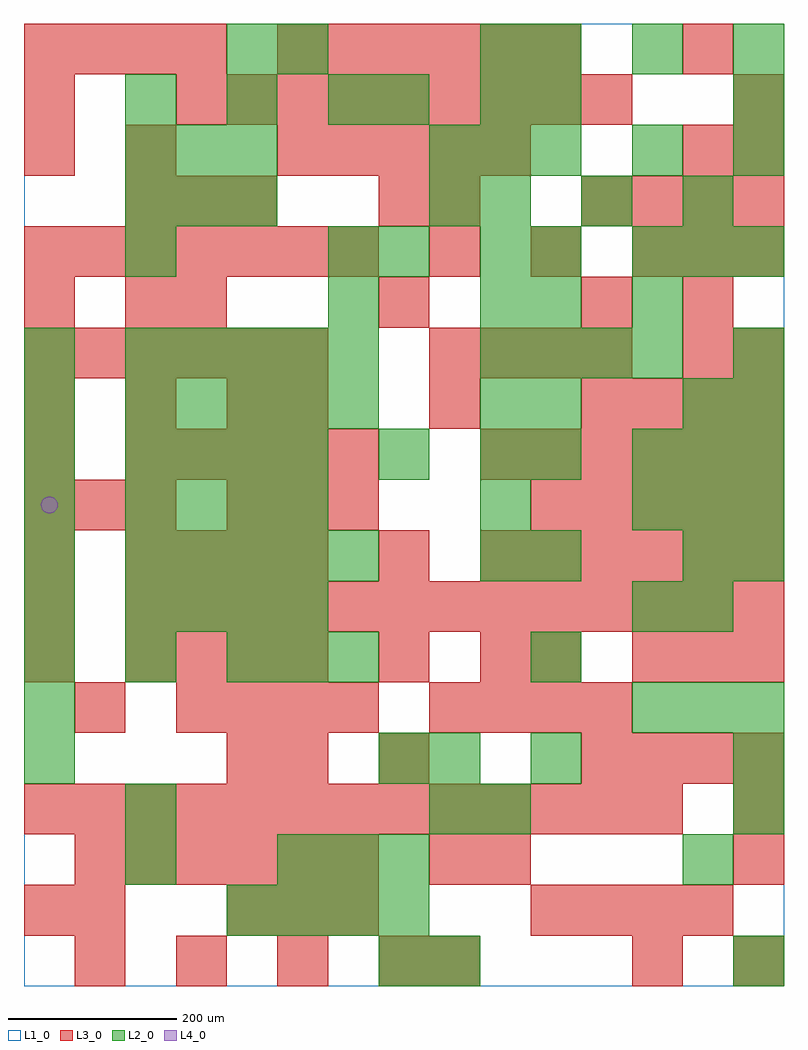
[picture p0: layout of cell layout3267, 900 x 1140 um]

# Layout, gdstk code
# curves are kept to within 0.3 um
import gdstk
lib = gdstk.Library(unit=1e-6, precision=1e-09)
def R(c, l, rs):  # rectangles x0, y0, x1, y1
    for r in rs: c.add(gdstk.rectangle(r[:2], r[2:], *l))
def A(c, l, x, y, w, h, nx, ny, dx, dy):  # array of equal rectangles
    R(c, l, [(x+i*dx, y+j*dy, x+i*dx+w, y+j*dy+h) for i in range(nx) for j in range(ny)])
def P(c, l, *ps):  # polygons
    for p in ps: c.add(gdstk.Polygon(p, *l))
L1_0 = (1, 0)
L2_0 = (2, 0)
L3_0 = (3, 0)
L4_0 = (4, 0)

layout3267 = lib.new_cell('layout3267')
R(layout3267, L1_0, [(0,0,900,1140)])
A(layout3267, L2_0, 240, 60, 60, 60, 4, 1, 60, 0)
A(layout3267, L2_0, 300, 120, 60, 60, 3, 1, 60, 0)
A(layout3267, L2_0, 600, 240, 60, 60, 1, 4, 0, 120)
A(layout3267, L2_0, 720, 300, 60, 60, 3, 2, 60, 240)
A(layout3267, L2_0, 0, 360, 60, 60, 3, 1, 120, 0)
A(layout3267, L2_0, 0, 420, 60, 60, 1, 6, 0, 60)
A(layout3267, L2_0, 120, 420, 60, 60, 4, 2, 60, 120)
A(layout3267, L2_0, 120, 480, 60, 60, 5, 2, 60, 180)
A(layout3267, L2_0, 540, 480, 60, 60, 1, 4, 0, 60)
A(layout3267, L2_0, 120, 600, 60, 60, 4, 1, 60, 0)
A(layout3267, L2_0, 720, 600, 60, 60, 3, 2, 60, 240)
A(layout3267, L2_0, 120, 720, 60, 60, 5, 1, 60, 0)
A(layout3267, L2_0, 540, 720, 60, 60, 4, 1, 60, 0)
A(layout3267, L2_0, 120, 900, 60, 60, 3, 2, 60, 60)
A(layout3267, L2_0, 540, 900, 60, 60, 3, 1, 120, 0)
A(layout3267, L2_0, 480, 960, 60, 60, 3, 1, 60, 0)
A(layout3267, L2_0, 120, 1020, 60, 60, 3, 1, 120, 0)
A(layout3267, L2_0, 600, 1080, 60, 60, 3, 1, 120, 0)
R(layout3267, L2_0, [(420,0,480,60), (480,0,540,60), (840,0,900,60), (120,120,180,180), (780,120,840,180), (120,180,180,240), (480,180,540,240), (540,180,600,240), (840,180,900,240), (0,240,60,300), (420,240,480,300), (480,240,540,300), (840,240,900,300), (0,300,60,360), (300,360,360,420), (360,360,420,420), (720,420,780,480), (780,420,840,480), (780,480,840,540), (840,480,900,540), (420,600,480,660), (600,660,660,720), (780,660,840,720), (840,660,900,720), (840,720,900,780), (360,780,420,840), (540,780,600,840), (600,780,660,840), (720,780,780,840), (120,840,180,900), (360,840,420,900), (420,840,480,900), (540,840,600,900), (600,840,660,900), (480,900,540,960), (720,960,780,1020), (840,960,900,1020), (420,1020,480,1080), (540,1020,600,1080), (600,1020,660,1080), (840,1020,900,1080), (240,1080,300,1140), (300,1080,360,1140), (540,1080,600,1140)])
A(layout3267, L3_0, 60, 0, 60, 60, 4, 1, 120, 0)
A(layout3267, L3_0, 240, 60, 60, 60, 3, 2, 60, 480)
A(layout3267, L3_0, 600, 60, 60, 60, 4, 1, 60, 0)
A(layout3267, L3_0, 60, 120, 60, 60, 6, 1, 60, 0)
A(layout3267, L3_0, 0, 180, 60, 60, 13, 1, 60, 0)
A(layout3267, L3_0, 420, 240, 60, 60, 1, 3, 0, 120)
A(layout3267, L3_0, 660, 240, 60, 60, 4, 2, 60, 660)
A(layout3267, L3_0, 180, 300, 60, 60, 4, 1, 60, 0)
A(layout3267, L3_0, 480, 300, 60, 60, 4, 2, 60, 420)
A(layout3267, L3_0, 0, 360, 60, 60, 1, 3, 0, 60)
A(layout3267, L3_0, 120, 360, 60, 60, 4, 2, 60, 120)
A(layout3267, L3_0, 720, 360, 60, 60, 3, 2, 60, 300)
A(layout3267, L3_0, 120, 420, 60, 60, 13, 1, 60, 0)
A(layout3267, L3_0, 540, 480, 60, 60, 6, 2, 60, 120)
A(layout3267, L3_0, 0, 540, 60, 60, 3, 1, 60, 0)
A(layout3267, L3_0, 600, 540, 60, 60, 5, 1, 60, 0)
A(layout3267, L3_0, 0, 600, 60, 60, 1, 3, 0, 180)
A(layout3267, L3_0, 120, 600, 60, 60, 5, 1, 60, 0)
A(layout3267, L3_0, 0, 660, 60, 60, 3, 1, 120, 0)
A(layout3267, L3_0, 300, 660, 60, 60, 3, 1, 180, 0)
A(layout3267, L3_0, 0, 720, 60, 60, 6, 1, 60, 0)
A(layout3267, L3_0, 780, 720, 60, 60, 1, 3, 0, 60)
A(layout3267, L3_0, 840, 720, 60, 60, 1, 3, 0, 120)
A(layout3267, L3_0, 180, 780, 60, 60, 3, 1, 240, 0)
A(layout3267, L3_0, 0, 840, 60, 60, 7, 1, 60, 0)
A(layout3267, L3_0, 480, 840, 60, 60, 3, 1, 120, 0)
A(layout3267, L3_0, 120, 900, 60, 60, 3, 1, 60, 0)
A(layout3267, L3_0, 300, 960, 60, 60, 5, 1, 60, 0)
A(layout3267, L3_0, 180, 1020, 60, 60, 9, 1, 60, 0)
A(layout3267, L3_0, 0, 1080, 60, 60, 4, 1, 60, 0)
A(layout3267, L3_0, 300, 1080, 60, 60, 6, 1, 60, 0)
R(layout3267, L3_0, [(480,0,540,60), (720,0,780,60), (840,0,900,60), (0,60,60,120), (60,60,120,120), (480,120,540,180), (540,120,600,180), (840,120,900,180), (840,180,900,240), (240,240,300,300), (300,240,360,300), (60,300,120,360), (540,360,600,420), (600,360,660,420), (120,780,180,840), (420,900,480,960), (480,900,540,960), (120,960,180,1020), (780,960,840,1020), (0,1020,60,1080), (840,1020,900,1080), (780,1080,840,1140)])
P(layout3267, L4_0, [(40,570),(39.239,573.827),(37.071,577.071),(33.827,579.239),(30,580),(26.173,579.239),(22.929,577.071),(20.761,573.827),(20,570),(20.761,566.173),(22.929,562.929),(26.173,560.761),(30,560),(33.827,560.761),(37.071,562.929),(39.239,566.173)])

lib.write_gds('layout3267.gds')
